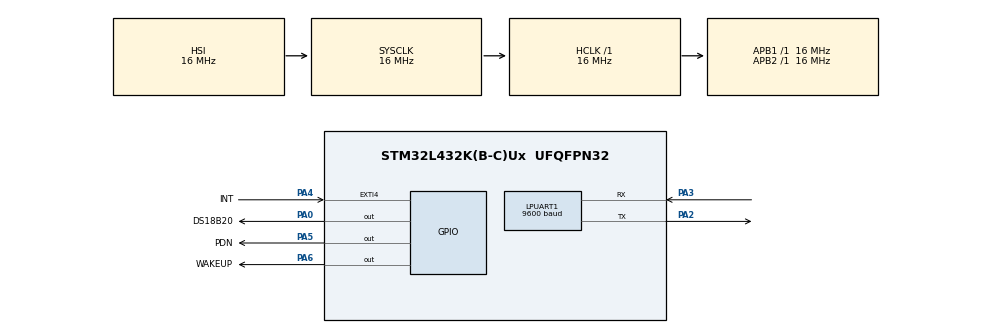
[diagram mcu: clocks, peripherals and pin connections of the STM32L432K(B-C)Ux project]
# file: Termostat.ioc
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LPUART1.BaudRate=9600
LPUART1.SwapParam=UART_ADVFEATURE_SWAP_ENABLE
LPUART1.WordLength=UART_WORDLENGTH_8B
Mcu.Family=STM32L4
Mcu.Name=STM32L432K(B-C)Ux
Mcu.Package=UFQFPN32
NVIC.EXTI4_IRQn=true\:0\:0\:false\:false\:true\:true\:true
NVIC.PriorityGroup=NVIC_PRIORITYGROUP_4
NVIC.RTC_WKUP_IRQn=true\:0\:0\:false\:false\:true\:true\:true
PA0.GPIO_Label=DS18B20
PA0.Signal=GPIO_Output
PA2.GPIO_PuPd=GPIO_NOPULL
PA2.Mode=Asynchronous
PA2.Signal=LPUART1_TX
PA3.Mode=Asynchronous
PA3.Signal=LPUART1_RX
PA4.GPIO_Label=INT
PA4.GPIO_ModeDefaultEXTI=GPIO_MODE_IT_RISING_FALLING
PA4.Signal=GPXTI4
PA5.GPIO_Label=PDN
PA5.Signal=GPIO_Output
PA6.GPIO_Label=WAKEUP
PA6.Signal=GPIO_Output
PC14-OSC32_IN\ (PC14).Mode=LSE-External-Oscillator
PC14-OSC32_IN\ (PC14).Signal=RCC_OSC32_IN
PC15-OSC32_OUT\ (PC15).Mode=LSE-External-Oscillator
PC15-OSC32_OUT\ (PC15).Signal=RCC_OSC32_OUT
ProjectManager.HeapSize=0x200
ProjectManager.StackSize=0x400
ProjectManager.TargetToolchain=STM32CubeIDE
RCC.ADCFreq_Value=16000000
RCC.AHBFreq_Value=16000000
RCC.APB1Freq_Value=16000000
RCC.APB1TimFreq_Value=16000000
RCC.APB2Freq_Value=16000000
RCC.APB2TimFreq_Value=16000000
RCC.CortexFreq_Value=16000000
RCC.HCLKFreq_Value=16000000
RCC.HSE_VALUE=8000000
RCC.HSI16_VALUE=16000000
RCC.HSI48_VALUE=48000000
RCC.HSI_VALUE=16000000
RCC.LPUART1CLockSelection=RCC_LPUART1CLKSOURCE_LSE
RCC.MSI_VALUE=4000000
RCC.PLLMUL=RCC_PLLMUL_4
RCC.PLLN=16
RCC.SYSCLKFreq_VALUE=16000000
RCC.SYSCLKSource=RCC_SYSCLKSOURCE_HSI
RCC.USBFreq_Value=16000000
RCC.VCOOutputFreq_Value=64000000
RTC.WakeUpCounter=(10000-1)
TIM6.Prescaler=(16-1)
VP_RTC_VS_RTC_Activate.Mode=RTC_Enabled
VP_RTC_VS_RTC_WakeUp_intern.Mode=WakeUp
VP_TIM6_VS_ClockSourceINT.Mode=Enable_Timer
board=NUCLEO-L432KC

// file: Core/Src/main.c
/* USER CODE BEGIN Header */
/**
  ******************************************************************************
  * @file           : main.c
  * @brief          : Main program body
  ******************************************************************************
  * @attention
  *
  * <h2><center>&copy; Copyright (c) 2021 STMicroelectronics.
  * All rights reserved.</center></h2>
  *
  * This software component is licensed by ST under BSD 3-Clause license,
  * the "License"; You may not use this file except in compliance with the
  * License. You may obtain a copy of the License at:
  *                        opensource.org/licenses/BSD-3-Clause
  *
  ******************************************************************************
  */
/* USER CODE END Header */
#include "main.h"
#include "usart.h"
#include "rtc.h"
#include "tim.h"
#include "gpio.h"

/* USER CODE BEGIN Includes */
#include "stdio.h"
#include "stdlib.h"
#include "string.h"
#include "hm_bt4502.h"
#include "ds18b20.h"
/* USER CODE END Includes */

/* USER CODE BEGIN PV */
BT4502_t BT4502 = {
		.INT_GPIO = INT_GPIO_Port,
		.INT_GPIO_Pin = INT_Pin,
		.PDN_GPIO = PDN_GPIO_Port,
		.PDN_GPIO_Pin = PDN_Pin,
		.WAKEUP_GPIO = WAKEUP_GPIO_Port,
		.WAKEUP_GPIO_Pin = WAKEUP_Pin,
		.huart = &hlpuart1,
		.recv_buf = {0},
		.state = BT4502_State_Uninitialized,
		.auth_code = "1234"};

uint8_t rtc_reset = 1;
uint8_t bt_not_connected_count = 0;
uint8_t test = 1;

extern Ds18b20Sensor_t	ds18b20[_DS18B20_MAX_SENSORS];
float temperature;
/* USER CODE END PV */

void SystemClock_Config(void);

int main(void)
{

  /* MCU Configuration--------------------------------------------------------*/

  /* Reset of all peripherals, Initializes the Flash interface and the Systick. */
  HAL_Init();

  /* Configure the system clock */
  SystemClock_Config();

  /* Initialize all configured peripherals */
  MX_RTC_Init();
  MX_GPIO_Init();
  MX_LPUART1_UART_Init();
  MX_TIM6_Init();
  /* USER CODE BEGIN 2 */
  BT4502_Init(&BT4502);
  if(!Ds18b20_Init())
  {
	  return -1;
  }
  /* USER CODE END 2 */

  /* Infinite loop */
  while (1)
  {

    /* USER CODE BEGIN 3 */

	Ds18b20_ManualConvert();

	if(BT4502.state == BT4502_State_Advertising)
	{
		bt_not_connected_count++;
		if(bt_not_connected_count == 2)
		{
			//BT4502_Sleep(&BT4502);
			BT4502.state = BT4502_State_Data_Sent;
		}
	}

	if(BT4502.state == BT4502_State_Data_Received)
	{
		//bt_not_connected_count = 0;
		if(strcmp((char *)BT4502.recv_buf, "TTM:CONNECT\r\n") == 0)
		{
			BT4502.state = BT4502_State_Connected;
		}
		else if(strcmp((char *)BT4502.recv_buf, "TTM:DISCONNECT\r\n") == 0)
		{
			if(BT4502.state != BT4502_State_Sleep)
			{
				BT4502.state = BT4502_State_Advertising;
			}
		}
		else if(strcmp((char *)BT4502.recv_buf, "TTM:DISCONNECT FOR TIMEOUT\r\n") == 0)
		{
			if(BT4502.state != BT4502_State_Sleep)
			{
				BT4502.state = BT4502_State_Advertising;
			}
		}
		memset(BT4502.recv_buf, '\0', sizeof(BT4502.recv_buf));
  	}

	if(BT4502.state == BT4502_State_Connected)
	{
		if(ds18b20[0].DataIsValid)
		{
			HAL_Delay(1000);
			BT4502_Send_Data(&BT4502, &ds18b20[0].Temperature, sizeof(ds18b20[0].Temperature));
			HAL_Delay(1000);
		}
		else
		{
			BT4502.state = BT4502_State_Data_Sent;
		}
  	}

	if(BT4502.state == BT4502_State_Data_Sent)
	{
		bt_not_connected_count = 0;
		BT4502_Sleep(&BT4502);
		HAL_RTCEx_DeactivateWakeUpTimer(&hrtc);
		rtc_reset = 1;
	}
	else if(BT4502.state == BT4502_State_Sleep)
	{
		BT4502_WakeUp(&BT4502);
	}

	if(rtc_reset == 1)
	{
		rtc_reset = 0;
		HAL_RTCEx_SetWakeUpTimer_IT(&hrtc, (10000-1), 32000/16); //10000-1 to 5s
	}
	HAL_SuspendTick();
	HAL_PWREx_EnterSTOP2Mode(PWR_STOPENTRY_WFI);
  }
  /* USER CODE END 3 */
}

void SystemClock_Config(void)
{
  RCC_OscInitTypeDef RCC_OscInitStruct = {0};
  RCC_ClkInitTypeDef RCC_ClkInitStruct = {0};

  /** Configure the main internal regulator output voltage
  */
  if (HAL_PWREx_ControlVoltageScaling(PWR_REGULATOR_VOLTAGE_SCALE1) != HAL_OK)
  {
    Error_Handler();
  }
  /** Configure LSE Drive Capability
  */
  HAL_PWR_EnableBkUpAccess();
  __HAL_RCC_LSEDRIVE_CONFIG(RCC_LSEDRIVE_LOW);
  /** Initializes the RCC Oscillators according to the specified parameters
  * in the RCC_OscInitTypeDef structure.
  */
  RCC_OscInitStruct.OscillatorType = RCC_OSCILLATORTYPE_HSI|RCC_OSCILLATORTYPE_LSI
                              |RCC_OSCILLATORTYPE_LSE;
  RCC_OscInitStruct.LSEState = RCC_LSE_ON;
  RCC_OscInitStruct.HSIState = RCC_HSI_ON;
  RCC_OscInitStruct.HSICalibrationValue = RCC_HSICALIBRATION_DEFAULT;
  RCC_OscInitStruct.LSIState = RCC_LSI_ON;
  RCC_OscInitStruct.PLL.PLLState = RCC_PLL_NONE;
  if (HAL_RCC_OscConfig(&RCC_OscInitStruct) != HAL_OK)
  {
    Error_Handler();
  }
  /** Initializes the CPU, AHB and APB buses clocks
  */
  RCC_ClkInitStruct.ClockType = RCC_CLOCKTYPE_HCLK|RCC_CLOCKTYPE_SYSCLK
                              |RCC_CLOCKTYPE_PCLK1|RCC_CLOCKTYPE_PCLK2;
  RCC_ClkInitStruct.SYSCLKSource = RCC_SYSCLKSOURCE_HSI;
  RCC_ClkInitStruct.AHBCLKDivider = RCC_SYSCLK_DIV1;
  RCC_ClkInitStruct.APB1CLKDivider = RCC_HCLK_DIV1;
  RCC_ClkInitStruct.APB2CLKDivider = RCC_HCLK_DIV1;

  if (HAL_RCC_ClockConfig(&RCC_ClkInitStruct, FLASH_LATENCY_0) != HAL_OK)
  {
    Error_Handler();
  }
}

/* USER CODE BEGIN 4 */
void HAL_GPIO_EXTI_Callback(uint16_t GPIO_Pin)
{
	SystemClock_Config();
	HAL_ResumeTick();

	if(GPIO_Pin == BT4502.INT_GPIO_Pin)
	{
		BT4502_INT_Pin_Callback(&BT4502);
	}
}

void HAL_RTCEx_WakeUpTimerEventCallback(RTC_HandleTypeDef *hrtc)
{
	SystemClock_Config();
	HAL_ResumeTick();

	HAL_RTCEx_DeactivateWakeUpTimer(hrtc);

	rtc_reset = 1;
}
/* USER CODE END 4 */

void Error_Handler(void)
{
  __disable_irq();
  while (1)
  {
  }
}

/************************ (C) COPYRIGHT STMicroelectronics *****END OF FILE****/
